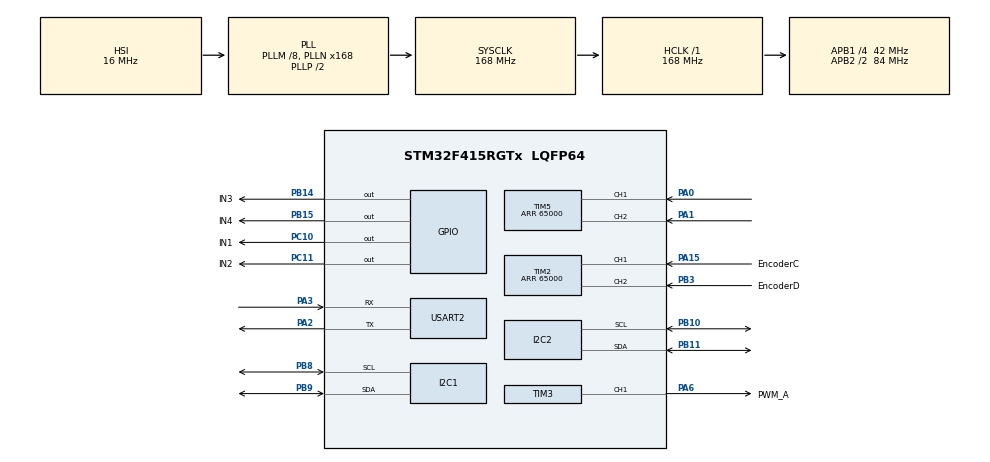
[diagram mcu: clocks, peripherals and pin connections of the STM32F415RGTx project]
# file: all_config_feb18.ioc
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Mcu.Family=STM32F4
Mcu.Name=STM32F415RGTx
Mcu.Package=LQFP64
NVIC.PriorityGroup=NVIC_PRIORITYGROUP_4
PA0-WKUP.Signal=S_TIM5_CH1
PA1.Signal=S_TIM5_CH2
PA13.Mode=Serial_Wire
PA13.Signal=SYS_JTMS-SWDIO
PA14.Mode=Serial_Wire
PA14.Signal=SYS_JTCK-SWCLK
PA15.GPIO_Label=EncoderC
PA15.GPIO_PuPd=GPIO_NOPULL
PA15.Signal=S_TIM2_CH1_ETR
PA2.Mode=Asynchronous
PA2.Signal=USART2_TX
PA3.Mode=Asynchronous
PA3.Signal=USART2_RX
PA6.GPIO_Label=PWM_A
PA6.Signal=S_TIM3_CH1
PB10.Mode=I2C
PB10.Signal=I2C2_SCL
PB11.Mode=I2C
PB11.Signal=I2C2_SDA
PB14.GPIO_Label=IN3
PB14.Signal=GPIO_Output
PB15.GPIO_Label=IN4
PB15.Signal=GPIO_Output
PB3.GPIO_Label=EncoderD
PB3.GPIO_PuPd=GPIO_NOPULL
PB3.Signal=S_TIM2_CH2
PB8.Mode=I2C
PB8.Signal=I2C1_SCL
PB9.Mode=I2C
PB9.Signal=I2C1_SDA
PC10.GPIO_Label=IN1
PC10.Signal=GPIO_Output
PC11.GPIO_Label=IN2
PC11.Signal=GPIO_Output
PH0-OSC_IN.Mode=HSE-External-Oscillator
PH0-OSC_IN.Signal=RCC_OSC_IN
PH1-OSC_OUT.Mode=HSE-External-Oscillator
PH1-OSC_OUT.Signal=RCC_OSC_OUT
ProjectManager.HeapSize=0x200
ProjectManager.StackSize=0x400
ProjectManager.TargetToolchain=STM32CubeIDE
RCC.48MHZClocksFreq_Value=84000000
RCC.AHBFreq_Value=168000000
RCC.APB1CLKDivider=RCC_HCLK_DIV4
RCC.APB1Freq_Value=42000000
RCC.APB1TimFreq_Value=84000000
RCC.APB2CLKDivider=RCC_HCLK_DIV2
RCC.APB2Freq_Value=84000000
RCC.APB2TimFreq_Value=168000000
RCC.CortexFreq_Value=168000000
RCC.HCLKFreq_Value=168000000
RCC.HSE_VALUE=16000000
RCC.HSI_VALUE=16000000
RCC.LSE_VALUE=32768
RCC.PLLM=8
RCC.PLLN=168
RCC.SYSCLKFreq_VALUE=168000000
RCC.SYSCLKSource=RCC_SYSCLKSOURCE_PLLCLK
RCC.VCOOutputFreq_Value=336000000
SH.S_TIM2_CH1_ETR.0=TIM2_CH1,Encoder_Interface
SH.S_TIM2_CH2.0=TIM2_CH2,Encoder_Interface
SH.S_TIM3_CH1.0=TIM3_CH1,PWM Generation1 CH1
SH.S_TIM5_CH1.0=TIM5_CH1,Encoder_Interface
SH.S_TIM5_CH2.0=TIM5_CH2,Encoder_Interface
TIM2.EncoderMode=TIM_ENCODERMODE_TI12
TIM2.IC1Polarity=TIM_ICPOLARITY_RISING
TIM2.IC2Polarity=TIM_ICPOLARITY_RISING
TIM2.Period=65000
TIM3.Channel-PWM\ Generation1\ CH1=TIM_CHANNEL_1
TIM5.EncoderMode=TIM_ENCODERMODE_TI12
TIM5.IC1Polarity=TIM_ICPOLARITY_RISING
TIM5.IC2Polarity=TIM_ICPOLARITY_RISING
TIM5.Period=65000
USART2.VirtualMode=VM_ASYNC
board=custom

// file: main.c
/* USER CODE BEGIN Header */
/**
  ******************************************************************************
  * @file           : main.c
  * @brief          : Main program body
  ******************************************************************************
  * @attention
  *
  * Copyright (c) 2023 STMicroelectronics.
  * All rights reserved.
  *
  * This software is licensed under terms that can be found in the LICENSE file
  * in the root directory of this software component.
  * If no LICENSE file comes with this software, it is provided AS-IS.
  *
  ******************************************************************************
  */
/* USER CODE END Header */
#include "main.h"

/* USER CODE BEGIN Includes */
#include "INA219.h"
#include <stdio.h>
#include "string.h"
#include "stdlib.h"
/* USER CODE END Includes */

/* USER CODE BEGIN PD */
INA219_t ina219;
int16_t vbus, vshunt, current;
/* USER CODE END PD */

I2C_HandleTypeDef hi2c1;
I2C_HandleTypeDef hi2c2;

TIM_HandleTypeDef htim2;
TIM_HandleTypeDef htim3;
TIM_HandleTypeDef htim5;

UART_HandleTypeDef huart2;

/* USER CODE BEGIN PV */
char uartBuffer[65536]; // 65536 la size lon nhat cua 1 char array
volatile uint16_t encoderCount1 = 0, encoderCount2 = 0; // variable cho viec doc encoder
/* USER CODE END PV */

void SystemClock_Config(void);
static void MX_GPIO_Init(void);
static void MX_I2C1_Init(void);
static void MX_I2C2_Init(void);
static void MX_TIM2_Init(void);
static void MX_TIM3_Init(void);
static void MX_TIM5_Init(void);
static void MX_USART2_UART_Init(void);

/* USER CODE BEGIN 0 */

/**	clockwise = 1 -> động cơ quay thuận chieu kim đồng hồ
 * 	clockwise = 0 -> động cơ quay ngược chieu kim đồng hồ
 * 	motor = 1 -> động cơ gắn với các chân OUT1, OUT2, ENA, IN1, IN2
 * 	motor = 2 -> động cơ gắn với các chân OUT3, OUT4, ENB, IN3, IN4
 */
void rotateClockwise(int motor, int clockwise)
{
	if(motor == 1)
	{
    HAL_GPIO_WritePin(GPIOC, GPIO_PIN_10, clockwise);
    HAL_GPIO_WritePin(GPIOC, GPIO_PIN_11, !clockwise);
	}
  if(motor == 2)
  {
    HAL_GPIO_WritePin(GPIOB, GPIO_PIN_14, clockwise);
    HAL_GPIO_WritePin(GPIOB, GPIO_PIN_15, !clockwise);
  }
}

/**
 *  motor 1 ~ PWMA và motor 2 ~ PWMB trên CubeMX
 *  Guide: https://controllerstech.com/pwm-in-stm32/
 *
 *  Timer clock = APB clock / Prescaler
 *  Freqency = Timer clock / ARR
 *  Duty cycle = (CCR / ARR) x 100 = ? %
 *
 *  APB clock: xem ở tab Clock Configuration ở file .ioc
 *  ARR: AutoReload Register
 *  CCR: Capture Compare Register
 *
 *  Tuy trong setting để Prescaler = 71, ARR = 99, nhưng giá trị thực trong tính toán là 72 và 100
 */
void genPWM(int motor, int dutyCycle)
{
  if(motor == 1)
  {
    TIM3->CCR1 = dutyCycle;
  }
  if(motor == 2)
  {
    TIM4->CCR1 = dutyCycle;
  }
}
/* USER CODE END 0 */

int main(void)
{

  /* MCU Configuration--------------------------------------------------------*/

  /* Reset of all peripherals, Initializes the Flash interface and the Systick. */
  HAL_Init();

  /* Configure the system clock */
  SystemClock_Config();

  /* Initialize all configured peripherals */
  MX_GPIO_Init();
  MX_I2C1_Init();
  MX_I2C2_Init();
  MX_TIM2_Init();
  MX_TIM3_Init();
  MX_TIM5_Init();
  MX_USART2_UART_Init();
  /* USER CODE BEGIN 2 */
  while(!INA219_Init(&ina219, &hi2c1, INA219_ADDRESS));
  INA219_setCalibration_16V_400mA(&ina219);

  HAL_TIM_Encoder_Start(&htim2, TIM_CHANNEL_ALL);	// non-blocking (polling mode)
  HAL_TIM_Encoder_Start(&htim5, TIM_CHANNEL_ALL);	// non-blocking (polling mode)
  /* USER CODE END 2 */

  /* Infinite loop */
  while (1)
  {

    /* USER CODE BEGIN 3 */
    // dieu khien chieu quay dong co
    //rotateClockwise(1, 1);

    //---------------------------- Doc encoder ----------------------------------------------------

    encoderCount1 = __HAL_TIM_GET_COUNTER(&htim5);
    sprintf(uartBuffer, "encoderCount1: %d\t-\t", encoderCount1);
    HAL_UART_Transmit(&huart2, (uint8_t*)uartBuffer, strlen(uartBuffer), 100);

    encoderCount2 = __HAL_TIM_GET_COUNTER(&htim2);
    sprintf(uartBuffer, "encoderCount2: %d\n\r", encoderCount2);
    HAL_UART_Transmit(&huart2, (uint8_t*)uartBuffer, strlen(uartBuffer), 100);
    //---------------------------- Ket thuc doc encoder -------------------------------------------

    // doc cam bien dong
    vbus = INA219_ReadBusVoltage(&ina219);
    vshunt = INA219_ReadShuntVolage(&ina219);
    current = INA219_ReadCurrent(&ina219);
    sprintf(uartBuffer, "\nvbus: %d\n\rvshunt: %d\n\rcurrent: %d\n\n\r", vbus, vshunt, current);
    HAL_UART_Transmit(&huart2, uartBuffer, strlen(uartBuffer), 100);
	HAL_Delay(500);

  }
  /* USER CODE END 3 */
}

void SystemClock_Config(void)
{
  RCC_OscInitTypeDef RCC_OscInitStruct = {0};
  RCC_ClkInitTypeDef RCC_ClkInitStruct = {0};

  /** Configure the main internal regulator output voltage
  */
  __HAL_RCC_PWR_CLK_ENABLE();
  __HAL_PWR_VOLTAGESCALING_CONFIG(PWR_REGULATOR_VOLTAGE_SCALE1);

  /** Initializes the RCC Oscillators according to the specified parameters
  * in the RCC_OscInitTypeDef structure.
  */
  RCC_OscInitStruct.OscillatorType = RCC_OSCILLATORTYPE_HSI;
  RCC_OscInitStruct.HSIState = RCC_HSI_ON;
  RCC_OscInitStruct.HSICalibrationValue = RCC_HSICALIBRATION_DEFAULT;
  RCC_OscInitStruct.PLL.PLLState = RCC_PLL_ON;
  RCC_OscInitStruct.PLL.PLLSource = RCC_PLLSOURCE_HSI;
  RCC_OscInitStruct.PLL.PLLM = 8;
  RCC_OscInitStruct.PLL.PLLN = 168;
  RCC_OscInitStruct.PLL.PLLP = RCC_PLLP_DIV2;
  RCC_OscInitStruct.PLL.PLLQ = 4;
  if (HAL_RCC_OscConfig(&RCC_OscInitStruct) != HAL_OK)
  {
    Error_Handler();
  }

  /** Initializes the CPU, AHB and APB buses clocks
  */
  RCC_ClkInitStruct.ClockType = RCC_CLOCKTYPE_HCLK|RCC_CLOCKTYPE_SYSCLK
                              |RCC_CLOCKTYPE_PCLK1|RCC_CLOCKTYPE_PCLK2;
  RCC_ClkInitStruct.SYSCLKSource = RCC_SYSCLKSOURCE_PLLCLK;
  RCC_ClkInitStruct.AHBCLKDivider = RCC_SYSCLK_DIV1;
  RCC_ClkInitStruct.APB1CLKDivider = RCC_HCLK_DIV4;
  RCC_ClkInitStruct.APB2CLKDivider = RCC_HCLK_DIV2;

  if (HAL_RCC_ClockConfig(&RCC_ClkInitStruct, FLASH_LATENCY_5) != HAL_OK)
  {
    Error_Handler();
  }
}

static void MX_I2C1_Init(void)
{

  hi2c1.Instance = I2C1;
  hi2c1.Init.ClockSpeed = 100000;
  hi2c1.Init.DutyCycle = I2C_DUTYCYCLE_2;
  hi2c1.Init.OwnAddress1 = 0;
  hi2c1.Init.AddressingMode = I2C_ADDRESSINGMODE_7BIT;
  hi2c1.Init.DualAddressMode = I2C_DUALADDRESS_DISABLE;
  hi2c1.Init.OwnAddress2 = 0;
  hi2c1.Init.GeneralCallMode = I2C_GENERALCALL_DISABLE;
  hi2c1.Init.NoStretchMode = I2C_NOSTRETCH_DISABLE;
  if (HAL_I2C_Init(&hi2c1) != HAL_OK)
  {
    Error_Handler();
  }

}

static void MX_I2C2_Init(void)
{

  hi2c2.Instance = I2C2;
  hi2c2.Init.ClockSpeed = 100000;
  hi2c2.Init.DutyCycle = I2C_DUTYCYCLE_2;
  hi2c2.Init.OwnAddress1 = 0;
  hi2c2.Init.AddressingMode = I2C_ADDRESSINGMODE_7BIT;
  hi2c2.Init.DualAddressMode = I2C_DUALADDRESS_DISABLE;
  hi2c2.Init.OwnAddress2 = 0;
  hi2c2.Init.GeneralCallMode = I2C_GENERALCALL_DISABLE;
  hi2c2.Init.NoStretchMode = I2C_NOSTRETCH_DISABLE;
  if (HAL_I2C_Init(&hi2c2) != HAL_OK)
  {
    Error_Handler();
  }

}

static void MX_TIM2_Init(void)
{

  TIM_Encoder_InitTypeDef sConfig = {0};
  TIM_MasterConfigTypeDef sMasterConfig = {0};

  htim2.Instance = TIM2;
  htim2.Init.Prescaler = 0;
  htim2.Init.CounterMode = TIM_COUNTERMODE_UP;
  htim2.Init.Period = 65000;
  htim2.Init.ClockDivision = TIM_CLOCKDIVISION_DIV1;
  htim2.Init.AutoReloadPreload = TIM_AUTORELOAD_PRELOAD_DISABLE;
  sConfig.EncoderMode = TIM_ENCODERMODE_TI12;
  sConfig.IC1Polarity = TIM_ICPOLARITY_RISING;
  sConfig.IC1Selection = TIM_ICSELECTION_DIRECTTI;
  sConfig.IC1Prescaler = TIM_ICPSC_DIV1;
  sConfig.IC1Filter = 0;
  sConfig.IC2Polarity = TIM_ICPOLARITY_RISING;
  sConfig.IC2Selection = TIM_ICSELECTION_DIRECTTI;
  sConfig.IC2Prescaler = TIM_ICPSC_DIV1;
  sConfig.IC2Filter = 0;
  if (HAL_TIM_Encoder_Init(&htim2, &sConfig) != HAL_OK)
  {
    Error_Handler();
  }
  sMasterConfig.MasterOutputTrigger = TIM_TRGO_RESET;
  sMasterConfig.MasterSlaveMode = TIM_MASTERSLAVEMODE_DISABLE;
  if (HAL_TIMEx_MasterConfigSynchronization(&htim2, &sMasterConfig) != HAL_OK)
  {
    Error_Handler();
  }

}

static void MX_TIM3_Init(void)
{

  TIM_MasterConfigTypeDef sMasterConfig = {0};
  TIM_OC_InitTypeDef sConfigOC = {0};

  htim3.Instance = TIM3;
  htim3.Init.Prescaler = 0;
  htim3.Init.CounterMode = TIM_COUNTERMODE_UP;
  htim3.Init.Period = 65535;
  htim3.Init.ClockDivision = TIM_CLOCKDIVISION_DIV1;
  htim3.Init.AutoReloadPreload = TIM_AUTORELOAD_PRELOAD_DISABLE;
  if (HAL_TIM_PWM_Init(&htim3) != HAL_OK)
  {
    Error_Handler();
  }
  sMasterConfig.MasterOutputTrigger = TIM_TRGO_RESET;
  sMasterConfig.MasterSlaveMode = TIM_MASTERSLAVEMODE_DISABLE;
  if (HAL_TIMEx_MasterConfigSynchronization(&htim3, &sMasterConfig) != HAL_OK)
  {
    Error_Handler();
  }
  sConfigOC.OCMode = TIM_OCMODE_PWM1;
  sConfigOC.Pulse = 0;
  sConfigOC.OCPolarity = TIM_OCPOLARITY_HIGH;
  sConfigOC.OCFastMode = TIM_OCFAST_DISABLE;
  if (HAL_TIM_PWM_ConfigChannel(&htim3, &sConfigOC, TIM_CHANNEL_1) != HAL_OK)
  {
    Error_Handler();
  }
  HAL_TIM_MspPostInit(&htim3);

}

static void MX_TIM5_Init(void)
{

  TIM_Encoder_InitTypeDef sConfig = {0};
  TIM_MasterConfigTypeDef sMasterConfig = {0};

  htim5.Instance = TIM5;
  htim5.Init.Prescaler = 0;
  htim5.Init.CounterMode = TIM_COUNTERMODE_UP;
  htim5.Init.Period = 65000;
  htim5.Init.ClockDivision = TIM_CLOCKDIVISION_DIV1;
  htim5.Init.AutoReloadPreload = TIM_AUTORELOAD_PRELOAD_DISABLE;
  sConfig.EncoderMode = TIM_ENCODERMODE_TI12;
  sConfig.IC1Polarity = TIM_ICPOLARITY_RISING;
  sConfig.IC1Selection = TIM_ICSELECTION_DIRECTTI;
  sConfig.IC1Prescaler = TIM_ICPSC_DIV1;
  sConfig.IC1Filter = 0;
  sConfig.IC2Polarity = TIM_ICPOLARITY_RISING;
  sConfig.IC2Selection = TIM_ICSELECTION_DIRECTTI;
  sConfig.IC2Prescaler = TIM_ICPSC_DIV1;
  sConfig.IC2Filter = 0;
  if (HAL_TIM_Encoder_Init(&htim5, &sConfig) != HAL_OK)
  {
    Error_Handler();
  }
  sMasterConfig.MasterOutputTrigger = TIM_TRGO_RESET;
  sMasterConfig.MasterSlaveMode = TIM_MASTERSLAVEMODE_DISABLE;
  if (HAL_TIMEx_MasterConfigSynchronization(&htim5, &sMasterConfig) != HAL_OK)
  {
    Error_Handler();
  }

}

static void MX_USART2_UART_Init(void)
{

  huart2.Instance = USART2;
  huart2.Init.BaudRate = 115200;
  huart2.Init.WordLength = UART_WORDLENGTH_8B;
  huart2.Init.StopBits = UART_STOPBITS_1;
  huart2.Init.Parity = UART_PARITY_NONE;
  huart2.Init.Mode = UART_MODE_TX_RX;
  huart2.Init.HwFlowCtl = UART_HWCONTROL_NONE;
  huart2.Init.OverSampling = UART_OVERSAMPLING_16;
  if (HAL_UART_Init(&huart2) != HAL_OK)
  {
    Error_Handler();
  }

}

static void MX_GPIO_Init(void)
{
  GPIO_InitTypeDef GPIO_InitStruct = {0};

  /* GPIO Ports Clock Enable */
  __HAL_RCC_GPIOH_CLK_ENABLE();
  __HAL_RCC_GPIOA_CLK_ENABLE();
  __HAL_RCC_GPIOB_CLK_ENABLE();
  __HAL_RCC_GPIOC_CLK_ENABLE();

  /*Configure GPIO pin Output Level */
  HAL_GPIO_WritePin(GPIOB, IN3_Pin|IN4_Pin, GPIO_PIN_RESET);

  /*Configure GPIO pin Output Level */
  HAL_GPIO_WritePin(GPIOC, IN1_Pin|IN2_Pin, GPIO_PIN_RESET);

  /*Configure GPIO pins : IN3_Pin IN4_Pin */
  GPIO_InitStruct.Pin = IN3_Pin|IN4_Pin;
  GPIO_InitStruct.Mode = GPIO_MODE_OUTPUT_PP;
  GPIO_InitStruct.Pull = GPIO_NOPULL;
  GPIO_InitStruct.Speed = GPIO_SPEED_FREQ_LOW;
  HAL_GPIO_Init(GPIOB, &GPIO_InitStruct);

  /*Configure GPIO pins : IN1_Pin IN2_Pin */
  GPIO_InitStruct.Pin = IN1_Pin|IN2_Pin;
  GPIO_InitStruct.Mode = GPIO_MODE_OUTPUT_PP;
  GPIO_InitStruct.Pull = GPIO_NOPULL;
  GPIO_InitStruct.Speed = GPIO_SPEED_FREQ_LOW;
  HAL_GPIO_Init(GPIOC, &GPIO_InitStruct);

}

void Error_Handler(void)
{
  __disable_irq();
  while (1)
  {
  }
}
